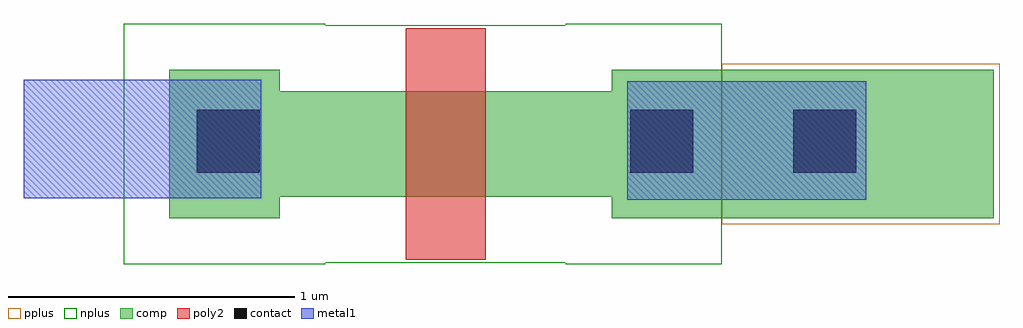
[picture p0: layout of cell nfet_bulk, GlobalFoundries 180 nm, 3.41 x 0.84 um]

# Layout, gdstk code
import gdstk
lib = gdstk.Library(unit=1e-6, precision=1e-09)
def R(c, l, rs):  # rectangles x0, y0, x1, y1
    for r in rs: c.add(gdstk.rectangle(r[:2], r[2:], *l))
comp = (22, 0)
poly2 = (30, 0)
pplus = (31, 0)
nplus = (32, 0)
contact = (33, 0)
metal1 = (34, 0)

nfet_bulk = lib.new_cell('nfet_bulk')
R(nfet_bulk, comp, [(-0.385,-0.075,0,0), (1.16,-0.075,2.495,0), (-0.385,0,2.495,0.37), (-0.385,0.37,0,0.445), (1.16,0.37,2.495,0.445)])
R(nfet_bulk, poly2, [(0.44,-0.22,0.72,0.59)])
R(nfet_bulk, pplus, [(1.545,-0.095,2.515,0.465)])
R(nfet_bulk, nplus, [(-0.545,-0.235,0.16,-0.23), (1,-0.235,1.545,-0.23), (-0.545,-0.23,1.545,0.6), (-0.545,0.6,0.16,0.605), (1,0.6,1.545,0.605)])
R(nfet_bulk, contact, [(-0.29,0.085,-0.07,0.305), (1.225,0.085,1.445,0.305), (1.795,0.085,2.015,0.305)])
R(nfet_bulk, metal1, [(1.215,-0.01,2.05,0.405), (-0.895,-0.005,-0.065,0.41)])

lib.write_gds('nfet_bulk.gds')
